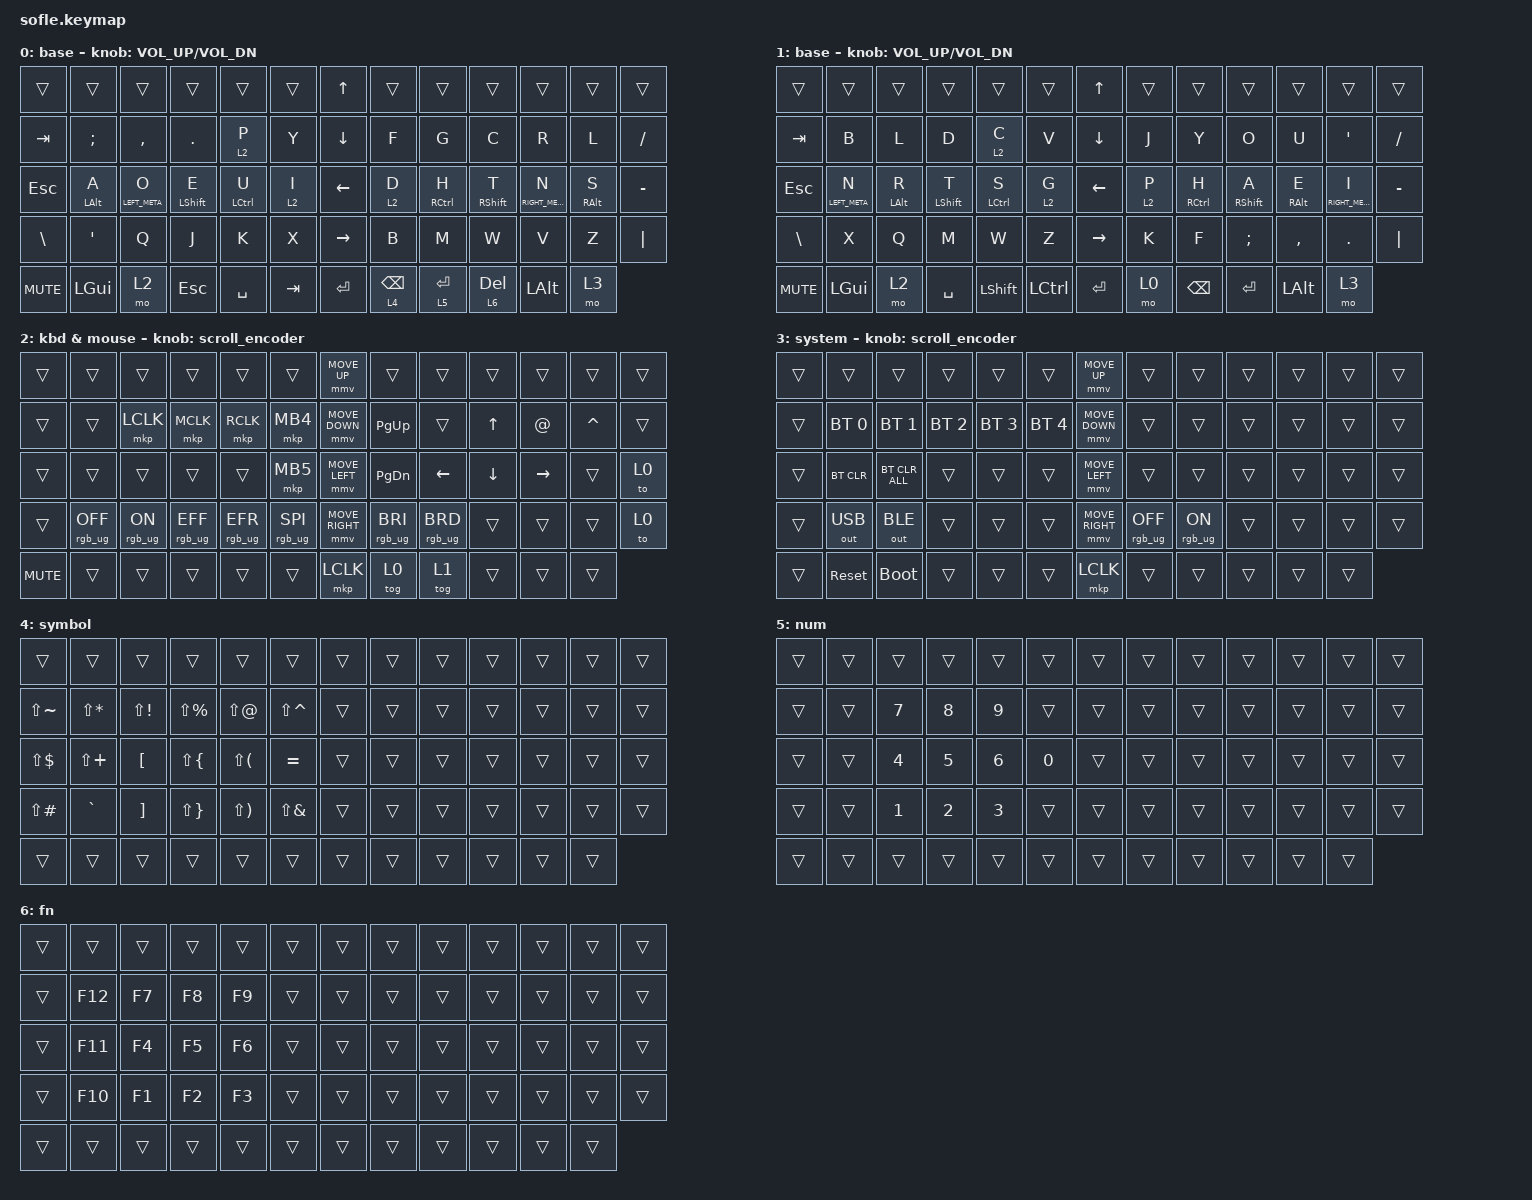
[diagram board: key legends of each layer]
#include <behaviors/mouse_keys.dtsi>
#include <dt-bindings/zmk/mouse.h>
#include <behaviors.dtsi>
#include <dt-bindings/zmk/bt.h>
#include <dt-bindings/zmk/keys.h>
#include <dt-bindings/zmk/outputs.h>
#include <dt-bindings/zmk/pointing.h>
#include <dt-bindings/zmk/rgb.h>

#define ZMK_MOUSE_DEFAULT_MOVE_VAL 1200  // 600
#define ZMK_MOUSE_DEFAULT_SCRL_VAL 20    // 10
#define U_MS_U &mmv MOVE_UP
#define U_MS_D &mmv MOVE_DOWN
#define U_MS_L &mmv MOVE_LEFT
#define U_MS_R &mmv MOVE_RIGHT
#define ZMK_MOUSE_DEFAULT_MOVE_VAL 1200  //  600
#define ZMK_MOUSE_DEFAULT_SCRL_VAL 20    // 10

&mt { flavor = "tap-preferred"; };

&lt {
};

/ {
    behaviors {
        mmv {
            acceleration-exponent = <1>;      // 1
            time-to-max-speed-ms = <900>;    // 40
            delay-ms = <0>;                   // 0
        };

        msc {
            acceleration-exponent = <1>;      // 0
            time-to-max-speed-ms = <400>;      // 500
            delay-ms = <0>;                   //   10
        };
    };

    scroll_encoder: scroll_encoder {
        compatible = "zmk,behavior-sensor-rotate";
        #sensor-binding-cells = <0>;
        bindings = <&msc SCRL_DOWN>, <&msc SCRL_UP>;

        tap-ms = <30>;
    };

    combos { compatible = "zmk,combos"; };

    keymap {
        compatible = "zmk,keymap";

        base {
            bindings = <
&trans         &trans          &trans           &trans            &trans              &trans     &kp UP_ARROW     &trans           &trans               &trans             &trans            &trans           &trans
&kp TAB        &kp SEMI        &kp COMMA        &kp PERIOD        &lt 2 P             &kp Y      &kp DOWN_ARROW   &kp F            &kp G                &kp C              &kp R             &kp L            &kp SLASH
&kp ESCAPE     &mt LEFT_ALT A  &mt LEFT_META O  &mt LEFT_SHIFT E  &mt LEFT_CONTROL U  &lt 2 I    &kp LEFT_ARROW   &lt 2 D          &mt RIGHT_CONTROL H  &mt RIGHT_SHIFT T  &mt RIGHT_META N  &mt RIGHT_ALT S  &kp MINUS
&kp BACKSLASH  &kp SQT         &kp Q            &kp J             &kp K               &kp X      &kp RIGHT_ARROW  &kp B            &kp M                &kp W              &kp V             &kp Z            &kp PIPE
&kp C_MUTE     &kp LEFT_GUI    &mo 2            &kp ESCAPE        &kp SPACE           &kp TAB    &kp ENTER        &lt 4 BACKSPACE  &lt 5 RETURN         &lt 6 DELETE       &kp LEFT_ALT      &mo 3
            >;

            sensor-bindings = <&inc_dec_kp C_VOLUME_UP C_VOL_DN>;
            display-name = "base";
        };

        gase {
            display-name = "base";
            bindings = <
&trans         &trans           &trans          &trans            &trans              &trans              &kp UP_ARROW     &trans   &trans               &trans             &trans           &trans            &trans
&kp TAB        &kp B            &kp L           &kp D             &lt 2 C             &kp V               &kp DOWN_ARROW   &kp J    &kp Y                &kp O              &kp U            &kp SINGLE_QUOTE  &kp SLASH
&kp ESCAPE     &mt LEFT_META N  &mt LEFT_ALT R  &mt LEFT_SHIFT T  &mt LEFT_CONTROL S  &lt 2 G             &kp LEFT_ARROW   &lt 2 P  &mt RIGHT_CONTROL H  &mt RIGHT_SHIFT A  &mt RIGHT_ALT E  &mt RIGHT_META I  &kp MINUS
&kp BACKSLASH  &kp X            &kp Q           &kp M             &kp W               &kp Z               &kp RIGHT_ARROW  &kp K    &kp F                &kp SEMICOLON      &kp COMMA        &kp PERIOD        &kp PIPE
&kp C_MUTE     &kp LEFT_GUI     &mo 2           &kp SPACE         &kp LEFT_SHIFT      &kp LEFT_CONTROL    &kp ENTER        &mo 0    &kp BACKSPACE        &kp ENTER          &kp LEFT_ALT     &mo 3
            >;

            sensor-bindings = <&inc_dec_kp C_VOLUME_UP C_VOL_DN>;
        };

        keyboard_and_mouse {
            bindings = <
&trans      &trans           &trans          &trans           &trans           &trans             &mmv MOVE_UP     &trans           &trans           &trans    &trans       &trans     &trans
&trans      &trans           &mkp LCLK       &mkp MCLK        &mkp RCLK        &mkp MB4           &mmv MOVE_DOWN   &kp PG_UP        &trans           &kp UP    &kp AT_SIGN  &kp CARET  &trans
&trans      &trans           &trans          &trans           &trans           &mkp MB5           &mmv MOVE_LEFT   &kp PG_DN        &kp LEFT         &kp DOWN  &kp RIGHT    &trans     &to 0
&trans      &rgb_ug RGB_OFF  &rgb_ug RGB_ON  &rgb_ug RGB_EFF  &rgb_ug RGB_EFR  &rgb_ug RGB_SPI    &mmv MOVE_RIGHT  &rgb_ug RGB_BRI  &rgb_ug RGB_BRD  &trans    &trans       &trans     &to 0
&kp C_MUTE  &trans           &trans          &trans           &trans           &trans             &mkp LCLK        &tog 0           &tog 1           &trans    &trans       &trans
            >;

            display-name = "kbd & mouse";
            sensor-bindings = <&scroll_encoder>;
        };

        system {
            bindings = <
&trans  &trans        &trans          &trans        &trans        &trans          &mmv MOVE_UP     &trans           &trans          &trans  &trans  &trans  &trans
&trans  &bt BT_SEL 0  &bt BT_SEL 1    &bt BT_SEL 2  &bt BT_SEL 3  &bt BT_SEL 4    &mmv MOVE_DOWN   &trans           &trans          &trans  &trans  &trans  &trans
&trans  &bt BT_CLR    &bt BT_CLR_ALL  &trans        &trans        &trans          &mmv MOVE_LEFT   &trans           &trans          &trans  &trans  &trans  &trans
&trans  &out OUT_USB  &out OUT_BLE    &trans        &trans        &trans          &mmv MOVE_RIGHT  &rgb_ug RGB_OFF  &rgb_ug RGB_ON  &trans  &trans  &trans  &trans
&trans  &sys_reset    &bootloader     &trans        &trans        &trans          &mkp LCLK        &trans           &trans          &trans  &trans  &trans
            >;

            sensor-bindings = <&scroll_encoder>;
            label = "system";
        };

        symbol {
            bindings = <
&trans         &trans        &trans        &trans         &trans        &trans           &trans  &trans  &trans  &trans  &trans  &trans  &trans
&kp LS(TILDE)  &kp LS(STAR)  &kp LS(EXCL)  &kp LS(PRCNT)  &kp LS(AT)    &kp LS(CARET)    &trans  &trans  &trans  &trans  &trans  &trans  &trans
&kp LS(DLLR)   &kp LS(PLUS)  &kp LBKT      &kp LS(LBRC)   &kp LS(LPAR)  &kp EQUAL        &trans  &trans  &trans  &trans  &trans  &trans  &trans
&kp LS(POUND)  &kp GRAVE     &kp RBKT      &kp LS(RBRC)   &kp LS(RPAR)  &kp LS(AMPS)     &trans  &trans  &trans  &trans  &trans  &trans  &trans
&trans         &trans        &trans        &trans         &trans        &trans           &trans  &trans  &trans  &trans  &trans  &trans
            >;
        };

        num {
            bindings = <
&trans  &trans  &trans  &trans  &trans  &trans    &trans  &trans  &trans  &trans  &trans  &trans  &trans
&trans  &trans  &kp N7  &kp N8  &kp N9  &trans    &trans  &trans  &trans  &trans  &trans  &trans  &trans
&trans  &trans  &kp N4  &kp N5  &kp N6  &kp N0    &trans  &trans  &trans  &trans  &trans  &trans  &trans
&trans  &trans  &kp N1  &kp N2  &kp N3  &trans    &trans  &trans  &trans  &trans  &trans  &trans  &trans
&trans  &trans  &trans  &trans  &trans  &trans    &trans  &trans  &trans  &trans  &trans  &trans
            >;
        };

        fn {
            bindings = <
&trans  &trans   &trans  &trans  &trans  &trans    &trans  &trans  &trans  &trans  &trans  &trans  &trans
&trans  &kp F12  &kp F7  &kp F8  &kp F9  &trans    &trans  &trans  &trans  &trans  &trans  &trans  &trans
&trans  &kp F11  &kp F4  &kp F5  &kp F6  &trans    &trans  &trans  &trans  &trans  &trans  &trans  &trans
&trans  &kp F10  &kp F1  &kp F2  &kp F3  &trans    &trans  &trans  &trans  &trans  &trans  &trans  &trans
&trans  &trans   &trans  &trans  &trans  &trans    &trans  &trans  &trans  &trans  &trans  &trans
            >;
        };
    };
};
